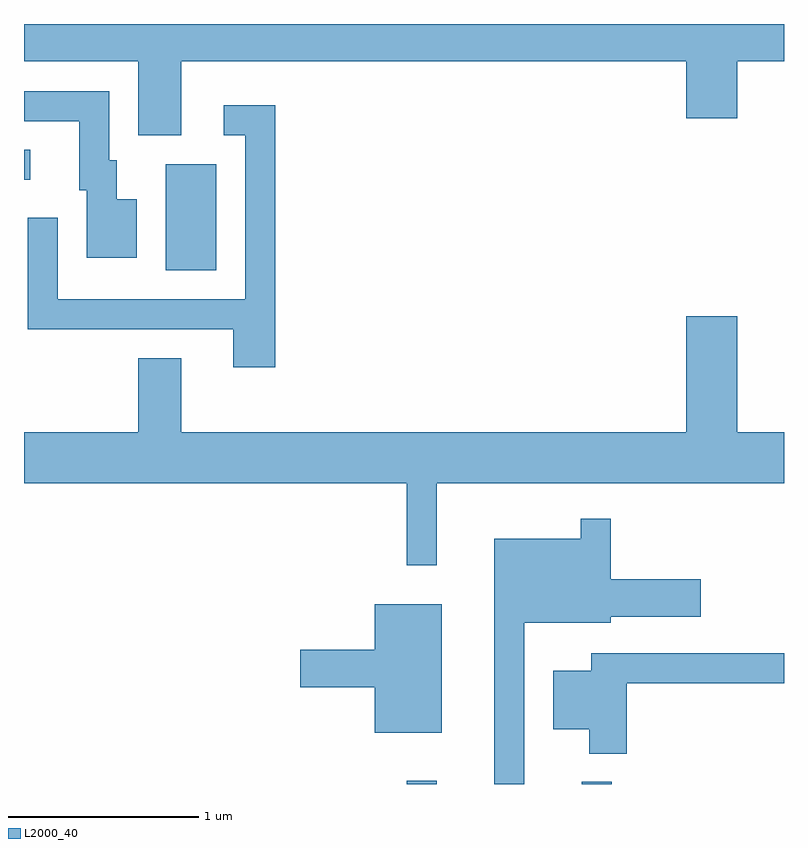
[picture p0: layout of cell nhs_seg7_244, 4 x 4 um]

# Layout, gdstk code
import gdstk
lib = gdstk.Library(unit=1e-6, precision=1e-09)
def R(c, l, rs):  # rectangles x0, y0, x1, y1
    for r in rs: c.add(gdstk.rectangle(r[:2], r[2:], *l))
def P(c, l, *ps):  # polygons
    for p in ps: c.add(gdstk.Polygon(p, *l))
L2000_40 = (2000, 40)

nhs_seg7_244 = lib.new_cell('nhs_seg7_244')
R(nhs_seg7_244, L2000_40, [(193.626,1748.252,193.784,1748.268), (194.546,1748.252,194.704,1748.263), (192.356,1750.956,192.624,1751.514), (191.611,1751.431,191.643,1751.589)])
P(nhs_seg7_244, L2000_40, [(192.439,1752.056),(195.096,1752.056),(195.096,1751.756),(195.364,1751.756),(195.364,1752.056),(195.611,1752.056),(195.611,1752.252),(191.611,1752.252),(191.611,1752.056),(192.211,1752.056),(192.211,1751.666),(192.439,1751.666)],
  [(192.204,1751.329),(192.099,1751.329),(192.099,1751.534),(192.059,1751.534),(192.059,1751.899),(191.611,1751.899),(191.611,1751.741),(191.901,1751.741),(191.901,1751.376),(191.941,1751.376),(191.941,1751.021),(192.204,1751.021)],
  [(192.934,1751.824),(192.663,1751.824),(192.663,1751.666),(192.776,1751.666),(192.776,1750.804),(191.789,1750.804),(191.789,1751.233),(191.631,1751.233),(191.631,1750.646),(192.711,1750.646),(192.711,1750.446),(192.934,1750.446)],
  [(193.784,1749.836),(195.611,1749.836),(195.611,1750.104),(195.364,1750.104),(195.364,1750.714),(195.096,1750.714),(195.096,1750.104),(192.439,1750.104),(192.439,1750.494),(192.211,1750.494),(192.211,1750.104),(191.611,1750.104),(191.611,1749.836),(193.626,1749.836),(193.626,1749.403),(193.784,1749.403)],
  [(194.244,1749.101),(194.699,1749.101),(194.699,1749.131),(195.174,1749.131),(195.174,1749.329),(194.699,1749.329),(194.699,1749.648),(194.541,1749.648),(194.541,1749.544),(194.086,1749.544),(194.086,1748.252),(194.244,1748.252)],
  [(193.809,1749.199),(193.456,1749.199),(193.456,1748.959),(193.066,1748.959),(193.066,1748.761),(193.456,1748.761),(193.456,1748.521),(193.809,1748.521)],
  [(194.784,1748.781),(195.611,1748.781),(195.611,1748.939),(194.596,1748.939),(194.596,1748.849),(194.396,1748.849),(194.396,1748.541),(194.586,1748.541),(194.586,1748.411),(194.784,1748.411)])

lib.write_gds('nhs_seg7_244.gds')
